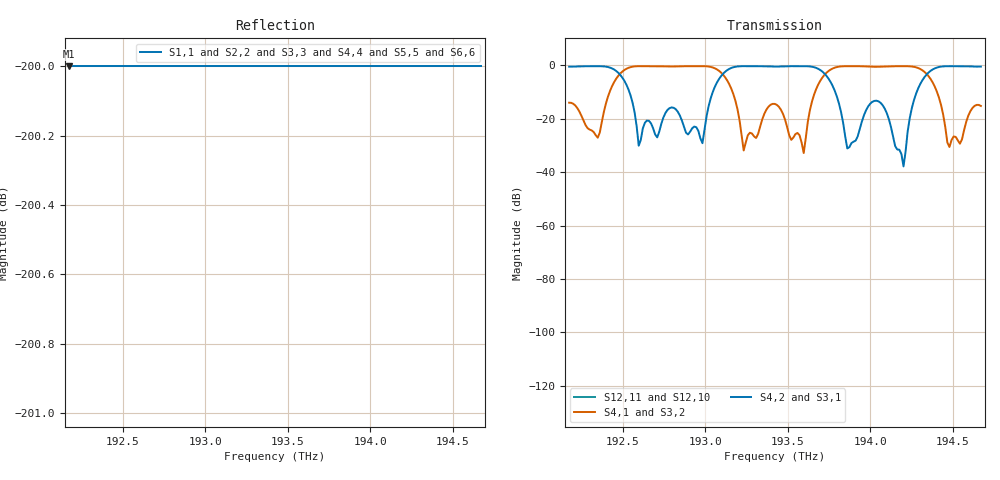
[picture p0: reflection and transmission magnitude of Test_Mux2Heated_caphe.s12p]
! Touchstone file export by IPKISS
! Luceda port in1: mode 0:0
! Luceda port in2: mode 0:1
! Luceda port out1: mode 0:2
! Luceda port out2: mode 0:3
! Luceda port ht_in0: mode 0:4
! Luceda port ht_out0: mode 0:5
! Luceda port ht_in1: mode 0:6
! Luceda port ht_out1: mode 0:7
! Luceda port ht_in2: mode 0:8
! Luceda port ht_out2: mode 0:9
! Luceda port ht_in3: mode 0:10
! Luceda port ht_out3: mode 0:11
# GHz S MA R 50.0
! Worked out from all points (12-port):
!   200 points, 192.17 THz to 194.67 THz, reference 50 ohm
!   strongest paths, dB at 192.17 THz, 192.8 THz, 193.42 THz, 194.05 THz, 194.67 THz:
!     S4,2: -0.5, -15.8, -0.5, -13.5, -0.5
!     S3,1: -0.5, -15.8, -0.5, -13.5, -0.5
!     S4,1: -14.0, -0.4, -14.4, -0.5, -15.2
!     S3,2: -14.0, -0.4, -14.4, -0.5, -15.2
!     S12,11: -, -, -, -, -
!     S12,10: -, -, -, -, -
!   lowest |S11| = - dB at 192.17 THz (marker M1), VSWR 1.00, Z = 50 + j0 ohm
!   |S11| at or under -10 dB: start of sweep to end of sweep
